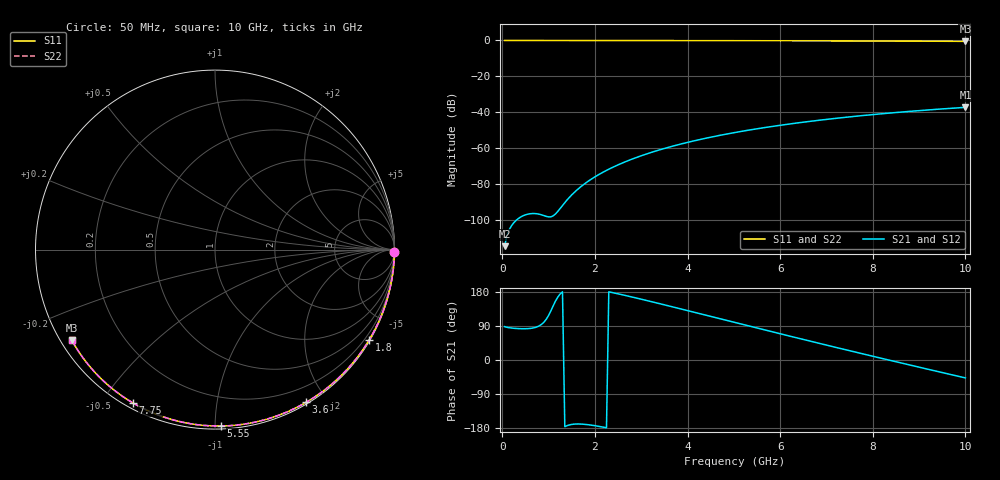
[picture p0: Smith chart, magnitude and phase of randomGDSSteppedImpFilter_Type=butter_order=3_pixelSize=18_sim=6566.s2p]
! freq	dB(S11)	phase(S11)	dB(S12)	phase(S12)
!  dB(S21)	phase(S21)	dB(S22)	phase(S22)
!S-par simulation data
#  GHz  S  DB  R 50
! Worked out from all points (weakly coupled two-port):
!   200 points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, 50 MHz to 10 GHz, reference 50 ohm
!   highest |S21| = -37.29 dB at 10 GHz (marker M1); lowest = -114.7 dB at 50 MHz (marker M2)
!   lowest |S11| = -0.5 dB at 10 GHz (marker M3), VSWR 34.88, Z = 1.55 - j14.4 ohm
!   |S11| at or under -10 dB: nowhere
!   |S22| runs from -0.5 to 0.0 dB; largest |S21 - S12| = 0
!   S11 on the Smith chart (normalised r, x): 50 MHz: open; 1.8 GHz: 0.03, -3.69; 3.6 GHz: 0.02, -1.76; 5.55 GHz: 0.02, -1.03; 7.75 GHz: 0.02, -0.60; 10 GHz: 0.03, -0.29
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0.05  -0.00 -0.9  -114.68 88.0  -114.68 88.0  -0.00 -0.9
0.45  -0.01 -7.7  -97.72 82.5  -97.72 82.5  -0.01 -7.7
0.9  -0.02 -15.3  -97.65 99.9  -97.65 99.9  -0.02 -15.3
1.3  -0.03 -22.0  -91.97 180.0  -91.97 180.0  -0.03 -22.0
1.75  -0.04 -29.5  -80.44 -169.5  -80.44 -169.5  -0.04 -29.5
1.8  -0.04 -30.4  -79.47 -170.0  -79.47 -170.0  -0.04 -30.4
1.95  -0.04 -32.8  -76.84 -172.4  -76.84 -172.4  -0.04 -32.8
2.1  -0.05 -35.3  -74.53 -175.4  -74.53 -175.4  -0.05 -35.3
2.3  -0.05 -38.5  -71.78 179.9  -71.78 179.9  -0.05 -38.5
2.5  -0.05 -41.8  -69.35 174.7  -69.35 174.7  -0.05 -41.8
2.9  -0.06 -48.2  -65.20 163.4  -65.20 163.4  -0.06 -48.2
3.4  -0.07 -56.1  -60.96 148.6  -60.96 148.6  -0.07 -56.1
3.6  -0.08 -59.2  -59.48 142.6  -59.48 142.6  -0.08 -59.2
4.3  -0.10 -69.8  -55.03 121.2  -55.03 121.2  -0.10 -69.8
5.05  -0.12 -80.9  -51.20 98.2  -51.20 98.2  -0.12 -80.9
5.55  -0.14 -88.1  -49.03 82.9  -49.03 82.9  -0.14 -88.1
6.1  -0.17 -95.9  -46.93 66.3  -46.93 66.3  -0.17 -95.9
6.7  -0.20 -104.1  -44.91 48.2  -44.91 48.2  -0.20 -104.1
7.75  -0.27 -118.2  -41.94 17.2  -41.94 17.2  -0.27 -118.2
8.35  -0.32 -126.1  -40.50 -0.3  -40.50 -0.3  -0.32 -126.1
9.2  -0.41 -137.2  -38.72 -24.6  -38.72 -24.6  -0.41 -137.2
10  -0.50 -147.7  -37.29 -47.3  -37.29 -47.3  -0.50 -147.7
